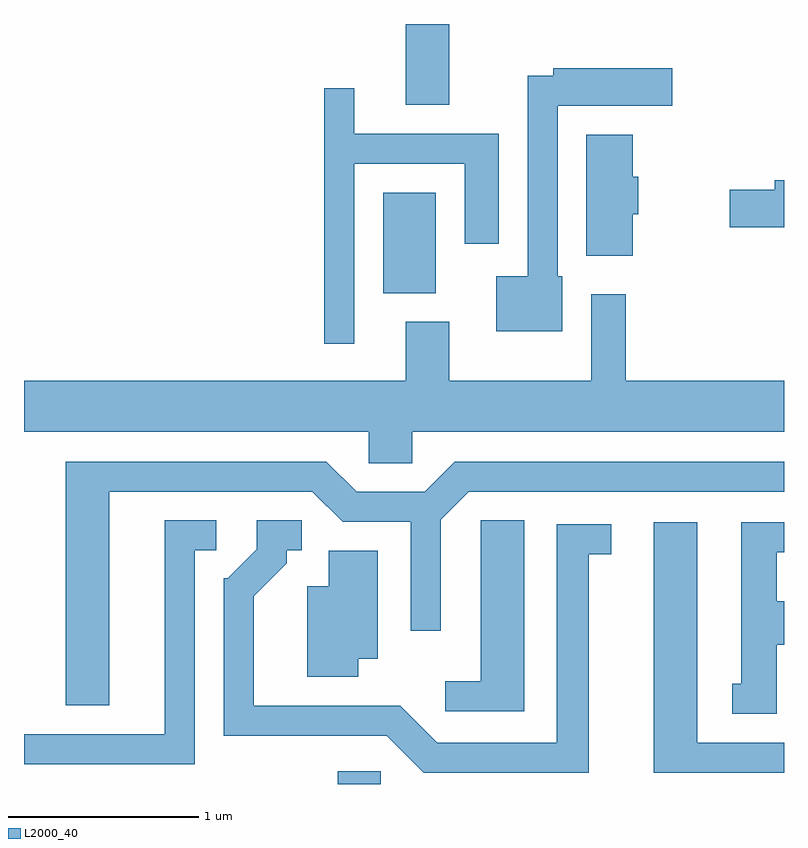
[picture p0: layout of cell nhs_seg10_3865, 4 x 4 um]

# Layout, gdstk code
import gdstk
lib = gdstk.Library(unit=1e-6, precision=1e-09)
def R(c, l, rs):  # rectangles x0, y0, x1, y1
    for r in rs: c.add(gdstk.rectangle(r[:2], r[2:], *l))
def P(c, l, *ps):  # polygons
    for p in ps: c.add(gdstk.Polygon(p, *l))
L2000_40 = (2000, 40)

nhs_seg10_3865 = lib.new_cell('nhs_seg10_3865')
R(nhs_seg10_3865, L2000_40, [(301.261,2096.522,301.489,2096.589), (301.501,2099.106,301.779,2099.634), (301.621,2100.096,301.849,2100.522)])
P(nhs_seg10_3865, L2000_40, [(302.444,2099.194),(302.419,2099.194),(302.419,2100.091),(303.024,2100.091),(303.024,2100.289),(302.396,2100.289),(302.396,2100.249),(302.261,2100.249),(302.261,2099.194),(302.096,2099.194),(302.096,2098.906),(302.444,2098.906)],
  [(301.349,2099.786),(301.931,2099.786),(301.931,2099.366),(302.109,2099.366),(302.109,2099.944),(301.349,2099.944),(301.349,2100.183),(301.191,2100.183),(301.191,2098.838),(301.349,2098.838)],
  [(302.814,2099.521),(302.844,2099.521),(302.844,2099.719),(302.814,2099.719),(302.814,2099.939),(302.571,2099.939),(302.571,2099.301),(302.814,2099.301)],
  [(303.611,2099.699),(303.561,2099.699),(303.561,2099.649),(303.326,2099.649),(303.326,2099.451),(303.611,2099.451)],
  [(301.654,2098.376),(303.611,2098.376),(303.611,2098.644),(302.779,2098.644),(302.779,2099.099),(302.596,2099.099),(302.596,2098.644),(301.849,2098.644),(301.849,2098.954),(301.621,2098.954),(301.621,2098.644),(299.611,2098.644),(299.611,2098.376),(301.426,2098.376),(301.426,2098.211),(301.654,2098.211)],
  [(300.059,2098.061),(301.129,2098.061),(301.289,2097.901),(301.646,2097.901),(301.646,2097.328),(301.804,2097.328),(301.804,2097.914),(301.952,2098.061),(303.611,2098.061),(303.611,2098.219),(301.879,2098.219),(301.719,2098.059),(301.362,2098.059),(301.202,2098.219),(299.831,2098.219),(299.831,2096.936),(300.059,2096.936)],
  [(302.244,2097.909),(302.016,2097.909),(302.016,2097.064),(301.828,2097.064),(301.828,2096.906),(302.244,2096.906)],
  [(302.584,2097.731),(302.703,2097.731),(302.703,2097.889),(302.416,2097.889),(302.416,2096.739),(301.787,2096.739),(301.592,2096.934),(300.819,2096.934),(300.819,2097.509),(300.994,2097.684),(300.994,2097.751),(301.073,2097.751),(301.073,2097.909),(300.836,2097.909),(300.836,2097.757),(300.684,2097.604),(300.661,2097.604),(300.661,2096.776),(301.519,2096.776),(301.714,2096.581),(302.584,2096.581)],
  [(300.509,2097.751),(300.623,2097.751),(300.623,2097.909),(300.351,2097.909),(300.351,2096.784),(299.611,2096.784),(299.611,2096.626),(300.509,2096.626)],
  [(303.611,2096.739),(303.154,2096.739),(303.154,2097.899),(302.926,2097.899),(302.926,2096.581),(303.611,2096.581)],
  [(303.574,2097.256),(303.611,2097.256),(303.611,2097.484),(303.574,2097.484),(303.574,2097.741),(303.611,2097.741),(303.611,2097.899),(303.386,2097.899),(303.386,2097.049),(303.338,2097.049),(303.338,2096.891),(303.574,2096.891)],
  [(301.369,2097.181),(301.474,2097.181),(301.474,2097.749),(301.216,2097.749),(301.216,2097.564),(301.101,2097.564),(301.101,2097.086),(301.369,2097.086)])

lib.write_gds('nhs_seg10_3865.gds')
